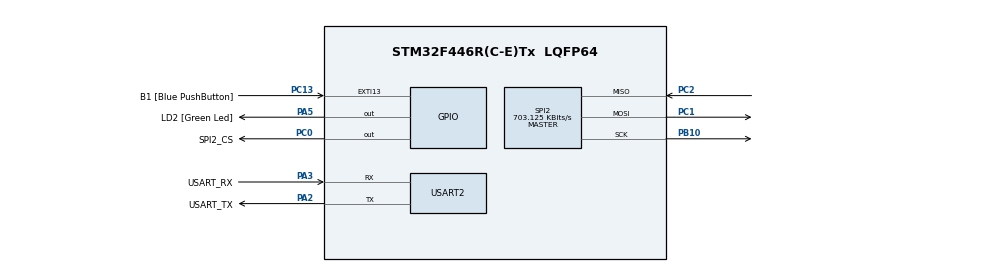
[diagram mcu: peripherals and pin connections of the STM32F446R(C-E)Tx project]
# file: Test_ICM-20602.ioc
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Mcu.Family=STM32F4
Mcu.Name=STM32F446R(C-E)Tx
Mcu.Package=LQFP64
NVIC.PriorityGroup=NVIC_PRIORITYGROUP_0
PA13.GPIO_Label=TMS
PA13.Mode=Serial_Wire
PA13.Signal=SYS_JTMS-SWDIO
PA14.GPIO_Label=TCK
PA14.Mode=Serial_Wire
PA14.Signal=SYS_JTCK-SWCLK
PA2.GPIO_Label=USART_TX
PA2.Mode=Asynchronous
PA2.Signal=USART2_TX
PA3.GPIO_Label=USART_RX
PA3.Mode=Asynchronous
PA3.Signal=USART2_RX
PA5.GPIO_Label=LD2 [Green Led]
PA5.Signal=GPIO_Output
PB10.Mode=Full_Duplex_Master
PB10.Signal=SPI2_SCK
PB3.GPIO_Label=SWO
PB3.Signal=SYS_JTDO-SWO
PC0.GPIO_Label=SPI2_CS
PC0.GPIO_PuPd=GPIO_NOPULL
PC0.GPIO_Speed=GPIO_SPEED_FREQ_LOW
PC0.PinState=GPIO_PIN_RESET
PC0.Signal=GPIO_Output
PC1.Mode=Full_Duplex_Master
PC1.Signal=SPI2_MOSI
PC13.GPIO_Label=B1 [Blue PushButton]
PC13.GPIO_ModeDefaultEXTI=GPIO_MODE_IT_FALLING
PC13.Signal=GPXTI13
PC14-OSC32_IN.Mode=LSE-External-Oscillator
PC14-OSC32_IN.Signal=RCC_OSC32_IN
PC15-OSC32_OUT.Mode=LSE-External-Oscillator
PC15-OSC32_OUT.Signal=RCC_OSC32_OUT
PC2.Mode=Full_Duplex_Master
PC2.Signal=SPI2_MISO
PH0-OSC_IN.Mode=HSE-External-Oscillator
PH0-OSC_IN.Signal=RCC_OSC_IN
PH1-OSC_OUT.Mode=HSE-External-Oscillator
PH1-OSC_OUT.Signal=RCC_OSC_OUT
ProjectManager.HeapSize=0x200
ProjectManager.StackSize=0x400
ProjectManager.TargetToolchain=STM32CubeIDE
RCC.48MHZClocksFreq_Value=84000000
RCC.AHBFreq_Value=180000000
RCC.APB1CLKDivider=RCC_HCLK_DIV4
RCC.APB1Freq_Value=45000000
RCC.APB1TimFreq_Value=90000000
RCC.APB2CLKDivider=RCC_HCLK_DIV2
RCC.APB2Freq_Value=90000000
RCC.APB2TimFreq_Value=180000000
RCC.CortexFreq_Value=180000000
RCC.FLatency-AdvancedSettings=FLASH_LATENCY_5
RCC.HCLKFreq_Value=180000000
RCC.HSE_VALUE=8000000
RCC.HSI_VALUE=16000000
RCC.PLLM=8
RCC.PLLN=180
RCC.SYSCLKFreq_VALUE=180000000
RCC.SYSCLKSource=RCC_SYSCLKSOURCE_PLLCLK
RCC.USBFreq_Value=180000000
RCC.VCOOutputFreq_Value=360000000
SPI2.BaudRatePrescaler=SPI_BAUDRATEPRESCALER_64
SPI2.CLKPhase=SPI_PHASE_2EDGE
SPI2.CLKPolarity=SPI_POLARITY_HIGH
SPI2.CalculateBaudRate=703.125 KBits/s
SPI2.Direction=SPI_DIRECTION_2LINES
SPI2.Mode=SPI_MODE_MASTER
SPI2.VirtualType=VM_MASTER
STMicroelectronics.X-CUBE-ALGOBUILD.1.1.0.LibraryCcDSPOoLibraryJjDSPOoLibrary=true
USART2.VirtualMode=VM_ASYNC
VP_STMicroelectronics.X-CUBE-ALGOBUILD_VS_DSPOoLibraryJjLibrary_1.1.0.Mode=DSPOoLibraryJjLibrary
board=NUCLEO-F446RE

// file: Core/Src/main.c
/* USER CODE BEGIN Header */
/**
  ******************************************************************************
  * @file           : main.c
  * @brief          : Main program body
  ******************************************************************************
  * @attention
  *
  * <h2><center>&copy; Copyright (c) 2020 STMicroelectronics.
  * All rights reserved.</center></h2>
  *
  * This software component is licensed by ST under BSD 3-Clause license,
  * the "License"; You may not use this file except in compliance with the
  * License. You may obtain a copy of the License at:
  *                        opensource.org/licenses/BSD-3-Clause
  *
  ******************************************************************************
  */
/* USER CODE END Header */
#include "main.h"
#include "spi.h"
#include "usart.h"
#include "gpio.h"

/* USER CODE BEGIN Includes */
#include <stdbool.h>
#include <stdint.h>
#include <stdio.h>
#include "SystickTimer.h"
/* USER CODE END Includes */

/* USER CODE BEGIN PD */
#ifdef __GNUC__
#define PUTCHAR_PROTOTYPE int __io_putchar(int ch)
#else
#define PUTCHAR_PROTOTYPE int fputc(int ch, FILE *f)
#endif /* __GNUC__ */

#define DEBUG_PRINTF_USART_TYPEDEF	USART2
/* USER CODE END PD */

void SystemClock_Config(void);

int main(void)
{

  /* MCU Configuration--------------------------------------------------------*/

  /* Reset of all peripherals, Initializes the Flash interface and the Systick. */

  LL_APB2_GRP1_EnableClock(LL_APB2_GRP1_PERIPH_SYSCFG);
  LL_APB1_GRP1_EnableClock(LL_APB1_GRP1_PERIPH_PWR);

  NVIC_SetPriorityGrouping(NVIC_PRIORITYGROUP_0);

  /* System interrupt init*/

  /* Configure the system clock */
  SystemClock_Config();

  /* Initialize all configured peripherals */
  MX_GPIO_Init();
  MX_USART2_UART_Init();
  MX_SPI2_Init();
  /* USER CODE BEGIN 2 */
  SystickTimer_EnableInterrupt();
  SystickTimer_SetSamplingTime(5u);

  uint64_t u64StartTimeMs = SystickTimer_GetTimeMS();
  /* USER CODE END 2 */

  /* Infinite loop */
  while (1)
  {

	  if(SystickTimer_IsSamplingTimeElapsed()){
		  if(SystickTimer_IsTimeElapsed(u64StartTimeMs, 500)){
			  u64StartTimeMs = SystickTimer_GetTimeMS();
			  printf("Oppai!, %d\n", (int)u64StartTimeMs);

			  LL_GPIO_TogglePin(LD2_GPIO_Port, LD2_Pin);
		  }
	  } //SamplingTime Elapsed
  }
}

void SystemClock_Config(void)
{
  LL_FLASH_SetLatency(LL_FLASH_LATENCY_5);
  while(LL_FLASH_GetLatency()!= LL_FLASH_LATENCY_5)
  {
  }
  LL_PWR_SetRegulVoltageScaling(LL_PWR_REGU_VOLTAGE_SCALE1);
  LL_PWR_EnableOverDriveMode();
  LL_RCC_HSI_SetCalibTrimming(16);
  LL_RCC_HSI_Enable();

   /* Wait till HSI is ready */
  while(LL_RCC_HSI_IsReady() != 1)
  {

  }
  LL_RCC_PLL_ConfigDomain_SYS(LL_RCC_PLLSOURCE_HSI, LL_RCC_PLLM_DIV_8, 180, LL_RCC_PLLP_DIV_2);
  LL_RCC_PLL_Enable();

   /* Wait till PLL is ready */
  while(LL_RCC_PLL_IsReady() != 1)
  {

  }
  LL_RCC_SetAHBPrescaler(LL_RCC_SYSCLK_DIV_1);
  LL_RCC_SetAPB1Prescaler(LL_RCC_APB1_DIV_4);
  LL_RCC_SetAPB2Prescaler(LL_RCC_APB2_DIV_2);
  LL_RCC_SetSysClkSource(LL_RCC_SYS_CLKSOURCE_PLL);

   /* Wait till System clock is ready */
  while(LL_RCC_GetSysClkSource() != LL_RCC_SYS_CLKSOURCE_STATUS_PLL)
  {

  }
  LL_Init1msTick(180000000);
  LL_SetSystemCoreClock(180000000);
  LL_RCC_SetTIMPrescaler(LL_RCC_TIM_PRESCALER_TWICE);
}

/* USER CODE BEGIN 4 */
void __io_putchar(uint8_t u8WriteData)
{
	USART_TransmitByte(DEBUG_PRINTF_USART_TYPEDEF, u8WriteData);
}
/* USER CODE END 4 */

void Error_Handler(void)
{
  __disable_irq();
  while (1)
  {
  }
}

/************************ (C) COPYRIGHT STMicroelectronics *****END OF FILE****/
